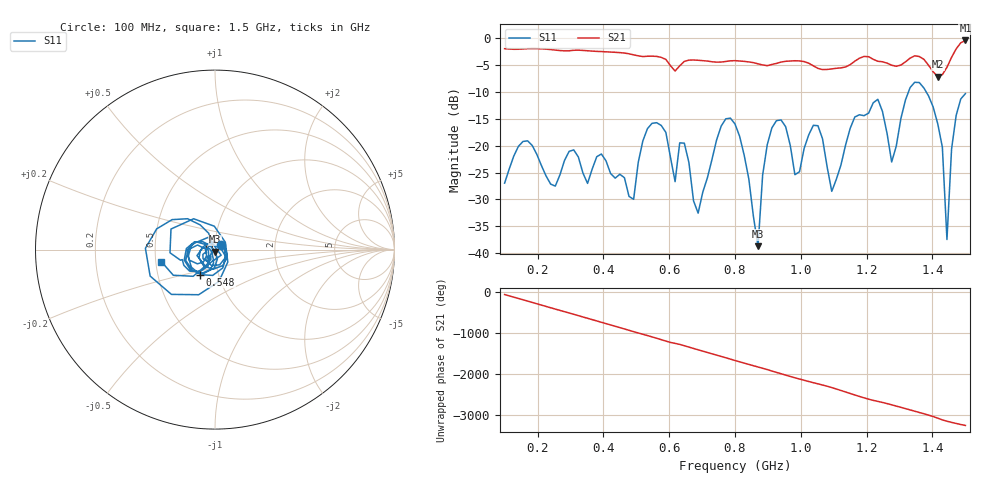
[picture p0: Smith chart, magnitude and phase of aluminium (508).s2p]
! NanoVNA-App
! Date: 2025-09-25 14:59:14
! Start: 100MHz Stop: 1,5GHz Points: 101
! S-Parameter data: F S11 S21 S12 S22
# Hz S RI R 50
!  Frequency  S11_Real  S11_Imag  S21_Real  S21_Imag  S12_Real  S12_Imag  S22_Real  S22_Imag
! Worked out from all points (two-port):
!   101 points, 100 MHz to 1.5 GHz, reference 50 ohm
!   highest |S21| = -0.39 dB at 1.5 GHz (marker M1); lowest = -7.1 dB at 1.416 GHz (marker M2)
!   |S21| within 3 dB of the highest: start of sweep to 564.4 MHz; 1.459 GHz to end of sweep (the widest 2 of 4)
!   lowest |S11| = -38.7 dB at 870 MHz (marker M3), VSWR 1.02, Z = 50.1 - j1.15 ohm
!   |S11| at or under -10 dB: start of sweep to 1.327 GHz; 1.381 GHz to end of sweep
!   S12 and S22 are empty: the file has one direction only
!   S11 on the Smith chart (normalised r, x): 100 MHz: 1.07, +0.06; 548 MHz: 0.82, -0.23; 1.5 GHz: 0.54, -0.08
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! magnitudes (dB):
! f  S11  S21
! 100 MHz  -27.0  -1.9
! 170 MHz  -19.1  -1.9
! 338 MHz  -25.1  -2.2
! 492 MHz  -30.0  -3.1
! 548 MHz  -15.8  -3.3
! 576 MHz  -16.2  -3.5
! 618 MHz  -26.7  -6.1
! 646 MHz  -19.5  -4.3
! 688 MHz  -32.5  -4.1
! 800 MHz  -15.9  -4.1
! 870 MHz  -38.7  -4.7
! 912 MHz  -16.7  -4.9
! 982 MHz  -25.4  -4.2
! 1.038 GHz  -16.2  -5.1
! 1.094 GHz  -28.5  -5.7
! 1.234 GHz  -11.4  -4.3
! 1.276 GHz  -23.0  -5.0
! 1.346 GHz  -8.2  -3.2
! 1.416 GHz  -15.9  -7.1
! 1.444 GHz  -37.5  -5.4
! 1.458 GHz  -20.6  -3.5
! 1.5 GHz  -10.3  -0.4
